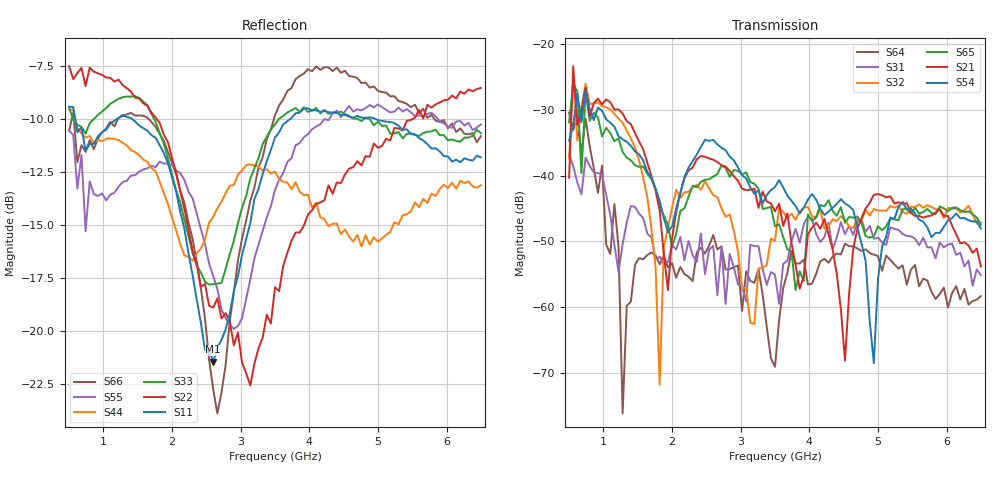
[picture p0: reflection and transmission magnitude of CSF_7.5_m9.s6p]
!Keysight Technologies,M9804A,MY58100912,A.14.10.03
!Date: Thursday, April 27, 2023 10:28:33
!Correction: S11(C  6-Port  )
!S12(C  6-Port  )
!S13(C  6-Port  )
!S14(C  6-Port  )
!S15(C  6-Port  )
!S16(C  6-Port  )
!S21(C  6-Port  )
!S22(C  6-Port  )
!S23(C  6-Port  )
!S24(C  6-Port  )
!S25(C  6-Port  )
!S26(C  6-Port  )
!S31(C  6-Port  )
!S32(C  6-Port  )
!S33(C  6-Port  )
!S34(C  6-Port  )
!S35(C  6-Port  )
!S36(C  6-Port  )
!S41(C  6-Port  )
!S42(C  6-Port  )
!S43(C  6-Port  )
!S44(C  6-Port  )
!S45(C  6-Port  )
!S46(C  6-Port  )
!S51(C  6-Port  )
!S52(C  6-Port  )
!S53(C  6-Port  )
!S54(C  6-Port  )
!S55(C  6-Port  )
!S56(C  6-Port  )
!S61(C  6-Port  )
!S62(C  6-Port  )
!S63(C  6-Port  )
!S64(C  6-Port  )
!S65(C  6-Port  )
!S66(C  6-Port  )
!S6P File: Measurement: :
# Hz S  RI  R 50
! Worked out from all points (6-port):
!   101 points, 500 MHz to 6.5 GHz, reference 50 ohm
!   strongest paths, dB at 500 MHz, 2 GHz, 3.5 GHz, 5 GHz, 6.5 GHz:
!     S54: -34.7, -47.7, -41.7, -55.8, -48.0
!     S21: -40.3, -49.5, -45.4, -42.8, -53.8
!     S65: -31.9, -50.9, -47.7, -47.7, -47.5
!     S32: -37.3, -44.9, -49.9, -45.3, -47.1
!     S31: -36.8, -50.6, -55.0, -49.4, -55.1
!     S64: -30.4, -53.3, -69.1, -52.2, -58.3
!   lowest |S11| = -21.4 dB at 2.6 GHz (marker M1), VSWR 1.19, Z = 42.5 + j2.22 ohm
!   |S11| at or under -10 dB: 589 MHz to 1.189 GHz (600.4 MHz wide, 67.5 % of centre); 1.423 GHz to 3.716 GHz (2.293 GHz wide, 89.3 % of centre); 4.974 GHz to end of sweep
